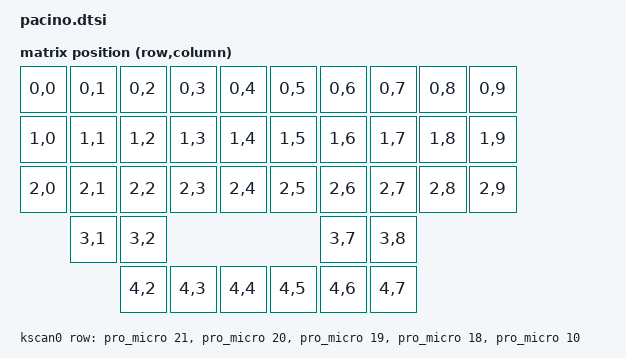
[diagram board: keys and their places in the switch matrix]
/*
 * Pacino -- hand-wired 5-column + 2-extra + 3-thumb split (the default case variant).
 *
 * Electrical matrix per half: 5 columns x 5 rows.
 *   rows 0-2 = top/home/bottom key rows
 *   row 3    = the two extra keys (columns 1 and 2: under X/C left, ,/. right)
 *   row 4    = thumbs (columns 2,3,4 left; 5,6,7 right -- i.e. the three inner columns)
 * This matches docs/wiring_guide.png: column wires chain each column top-to-bottom including its
 * extra key; the thumb row is its own chain hung on the three inner columns.
 *
 * Pins avoid pro_micro 1/14/15/16 so the nice!view (SPI + CS) can be added without rewiring.
 * Amoeba-King boards put the diode between the switch and the ROW pad: diode-direction col2row.
 */

#include <dt-bindings/zmk/matrix_transform.h>

/ {
    chosen {
        zmk,kscan = &kscan0;
        zmk,matrix-transform = &default_transform;
    };

    default_transform: keymap_transform_0 {
        compatible = "zmk,matrix-transform";
        columns = <10>;
        rows = <5>;
        map = <
RC(0,0) RC(0,1) RC(0,2) RC(0,3) RC(0,4)      RC(0,5) RC(0,6) RC(0,7) RC(0,8) RC(0,9)
RC(1,0) RC(1,1) RC(1,2) RC(1,3) RC(1,4)      RC(1,5) RC(1,6) RC(1,7) RC(1,8) RC(1,9)
RC(2,0) RC(2,1) RC(2,2) RC(2,3) RC(2,4)      RC(2,5) RC(2,6) RC(2,7) RC(2,8) RC(2,9)
        RC(3,1) RC(3,2)                              RC(3,7) RC(3,8)
                RC(4,2) RC(4,3) RC(4,4)      RC(4,5) RC(4,6) RC(4,7)
        >;
    };

    kscan0: kscan {
        compatible = "zmk,kscan-gpio-matrix";
        diode-direction = "col2row";
        wakeup-source;

        row-gpios
            = <&pro_micro 21 (GPIO_ACTIVE_HIGH | GPIO_PULL_DOWN)>   /* row 0: top      */
            , <&pro_micro 20 (GPIO_ACTIVE_HIGH | GPIO_PULL_DOWN)>   /* row 1: home     */
            , <&pro_micro 19 (GPIO_ACTIVE_HIGH | GPIO_PULL_DOWN)>   /* row 2: bottom   */
            , <&pro_micro 18 (GPIO_ACTIVE_HIGH | GPIO_PULL_DOWN)>   /* row 3: extras   */
            , <&pro_micro 10 (GPIO_ACTIVE_HIGH | GPIO_PULL_DOWN)>   /* row 4: thumbs   */
            ;
    };
};
